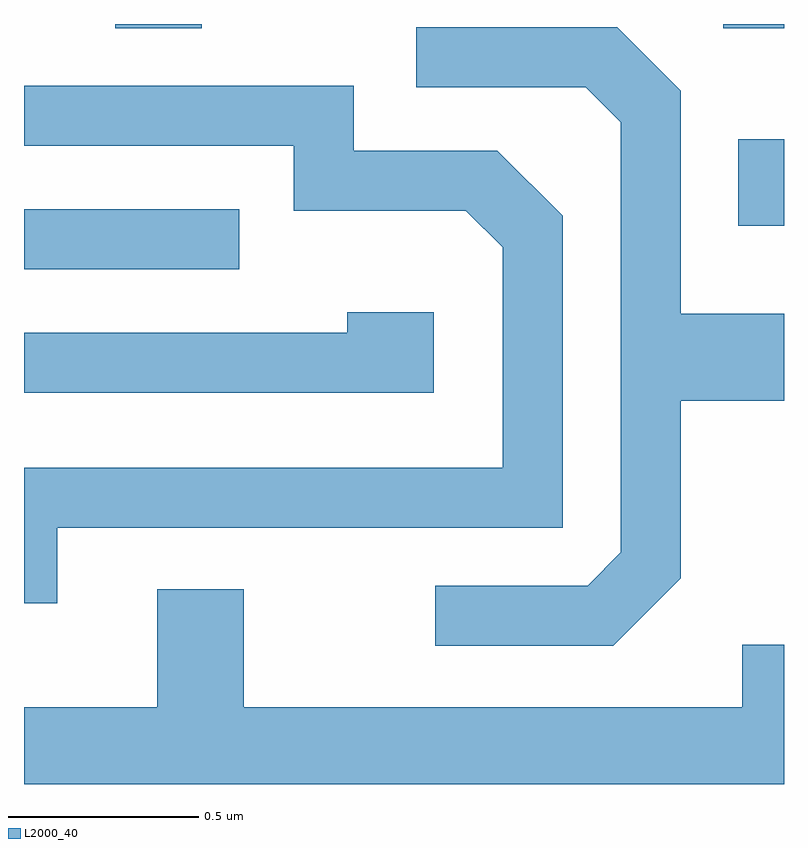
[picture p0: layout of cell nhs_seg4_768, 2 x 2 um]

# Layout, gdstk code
import gdstk
lib = gdstk.Library(unit=1e-6, precision=1e-09)
def R(c, l, rs):  # rectangles x0, y0, x1, y1
    for r in rs: c.add(gdstk.rectangle(r[:2], r[2:], *l))
def P(c, l, *ps):  # polygons
    for p in ps: c.add(gdstk.Polygon(p, *l))
L2000_40 = (2000, 40)

nhs_seg4_768 = lib.new_cell('nhs_seg4_768')
R(nhs_seg4_768, L2000_40, [(190.611,1338.336,191.178,1338.494), (192.491,1338.451,192.611,1338.679), (190.851,1338.971,191.079,1338.982), (192.451,1338.971,192.611,1338.982)])
P(nhs_seg4_768, L2000_40, [(192.339,1337.524),(192.339,1337.991),(192.611,1337.991),(192.611,1338.219),(192.339,1338.219),(192.339,1338.807),(192.172,1338.974),(191.643,1338.974),(191.643,1338.816),(192.089,1338.816),(192.181,1338.724),(192.181,1337.592),(192.094,1337.504),(191.693,1337.504),(191.693,1337.346),(192.162,1337.346)],
  [(190.699,1337.656),(192.029,1337.656),(192.029,1338.477),(191.857,1338.649),(191.479,1338.649),(191.479,1338.819),(190.611,1338.819),(190.611,1338.661),(191.321,1338.661),(191.321,1338.491),(191.774,1338.491),(191.871,1338.394),(191.871,1337.814),(190.611,1337.814),(190.611,1337.458),(190.699,1337.458)],
  [(191.689,1338.224),(191.461,1338.224),(191.461,1338.169),(190.611,1338.169),(190.611,1338.011),(191.689,1338.011)],
  [(192.611,1337.349),(192.501,1337.349),(192.501,1337.184),(191.189,1337.184),(191.189,1337.494),(190.961,1337.494),(190.961,1337.184),(190.611,1337.184),(190.611,1336.982),(192.611,1336.982)])

lib.write_gds('nhs_seg4_768.gds')
